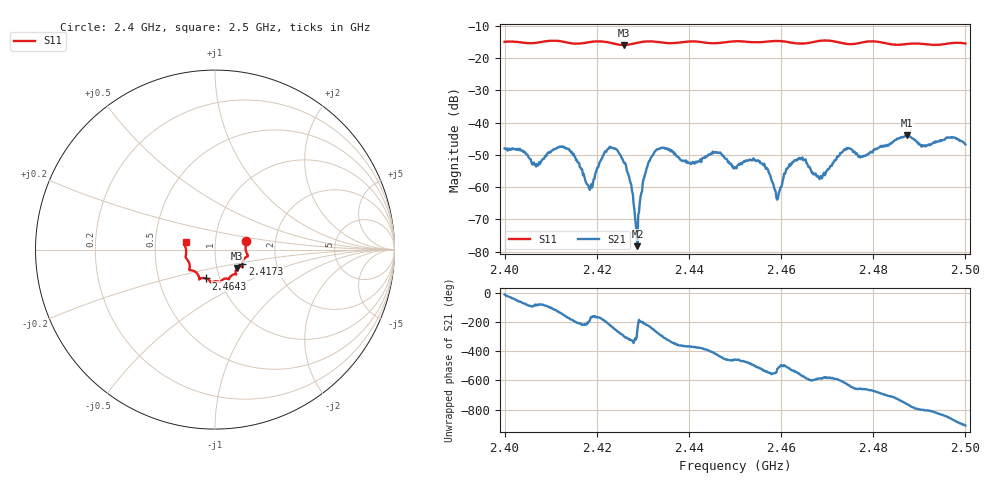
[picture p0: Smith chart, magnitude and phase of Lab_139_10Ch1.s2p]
# Hz S RI R 50
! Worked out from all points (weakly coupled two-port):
!   601 points, 2.4 GHz to 2.5 GHz, reference 50 ohm
!   highest |S21| = -43.90 dB at 2.4873 GHz (marker M1); lowest = -78.3 dB at 2.4288 GHz (marker M2)
!   lowest |S11| = -15.9 dB at 2.4258 GHz (marker M3), VSWR 1.38, Z = 62.3 - j13.3 ohm
!   |S11| at or under -10 dB: start of sweep to end of sweep
!   S12 and S22 are empty: the file has one direction only
!   S11 on the Smith chart (normalised r, x): 2.4 GHz: 1.41, +0.14; 2.4173 GHz: 1.34, -0.22; 2.4643 GHz: 0.86, -0.28; 2.5 GHz: 0.72, +0.06
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2.4e9  0.1728 0.0487  0.00391 -0.000717  0 0  0 0
2.406833e9  0.1729 -0.00827  0.000193 -0.00209  0 0  0 0
2.4125e9  0.1773 -0.0393  -0.00344 -0.00247  0 0  0 0
2.416667e9  0.1525 -0.0742  -0.00153 0.00111  0 0  0 0
2.417333e9  0.1518 -0.0815  -0.00112 0.0009  0 0  0 0
2.418667e9  0.1528 -0.093  -0.000985 -0.000203  0 0  0 0
2.422833e9  0.1466 -0.0943  -0.00335 0.00261  0 0  0 0
2.425833e9  0.1219 -0.1036  0.00107 0.00219  0 0  0 0
2.428833e9  0.115 -0.1302  -5.08e-05 0.000111  0 0  0 0
2.430667e9  0.1183 -0.1382  -0.00139 0.00106  0 0  0 0
2.433333e9  0.1131 -0.1371  0.000479 0.00385  0 0  0 0
2.44e9  0.0791 -0.1633  0.00235 -0.000233  0 0  0 0
2.4465e9  0.044 -0.1664  0.00107 -0.00322  0 0  0 0
2.45e9  0.0291 -0.1808  -0.00029 -0.00201  0 0  0 0
2.4555e9  -0.00257 -0.1772  -0.00217 -0.000945  0 0  0 0
2.459167e9  -0.0228 -0.1838  -0.000611 -0.000196  0 0  0 0
2.461333e9  -0.0278 -0.1766  -0.00168 -0.000967  0 0  0 0
2.464333e9  -0.0498 -0.1606  -0.00246 0.00113  0 0  0 0
2.466667e9  -0.0759 -0.1592  -0.000798 0.00148  0 0  0 0
2.483333e9  -0.1407 -0.0899  0.00429 0.00106  0 0  0 0
2.487333e9  -0.1573 -0.0538  0.00465 -0.00437  0 0  0 0
2.5e9  -0.1639 0.0427  -0.00455 0.00072  0 0  0 0
